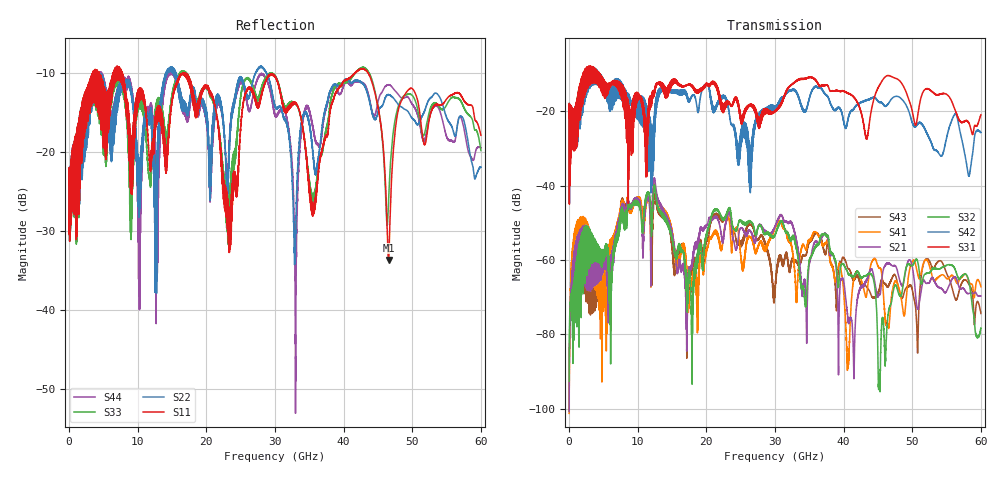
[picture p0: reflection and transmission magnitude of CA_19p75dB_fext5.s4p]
!4 port subset of full cascaded channels using these ports:11 37 12 38
# Hz S RI R 50
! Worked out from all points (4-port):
!   6000 points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, 10 MHz to 60 GHz, reference 50 ohm
!   strongest paths, dB at 10 MHz, 15.01 GHz, 30.01 GHz, 45.01 GHz, 60 GHz:
!     S31: -21.9, -12.0, -20.0, -13.7, -21.0
!     S42: -21.9, -14.4, -18.7, -17.3, -25.7
!     S32: -92.5, -54.2, -53.4, -86.7, -78.2
!     S21: -100.7, -52.4, -51.0, -69.9, -69.7
!     S41: -101.2, -52.5, -51.4, -61.7, -67.1
!     S43: -100.6, -57.3, -68.4, -69.0, -74.4
!   lowest |S11| = -33.7 dB at 46.56 GHz (marker M1), VSWR 1.04, Z = 49.7 - j2.04 ohm
!   |S11| at or under -10 dB: 7.763 GHz to 16.58 GHz (8.815 GHz wide, 72.4 % of centre); 16.99 GHz to 41.6 GHz (24.61 GHz wide, 84 % of centre); 43.58 GHz to end of sweep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
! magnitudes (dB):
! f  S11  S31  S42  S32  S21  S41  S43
! 10 MHz  -24.0  -21.9  -21.9  -92.5  -100.7  -101.2  -100.6
! 12.5 GHz  -17.0  -13.8  -21.7  -40.8  -38.6  -40.0  -42.9
! 17.09 GHz  -10.1  -13.0  -15.1  -68.4  -78.7  -61.6  -77.1
! 23.3 GHz  -27.4  -17.7  -20.0  -46.3  -47.3  -49.0  -47.1
! 42.77 GHz  -9.5  -22.0  -17.5  -64.5  -66.9  -66.7  -66.8
! 46.56 GHz  -33.7  -10.4  -17.9  -73.6  -60.9  -78.3  -66.9
! 60 GHz  -17.9  -21.0  -25.7  -78.2  -69.7  -67.1  -74.4
